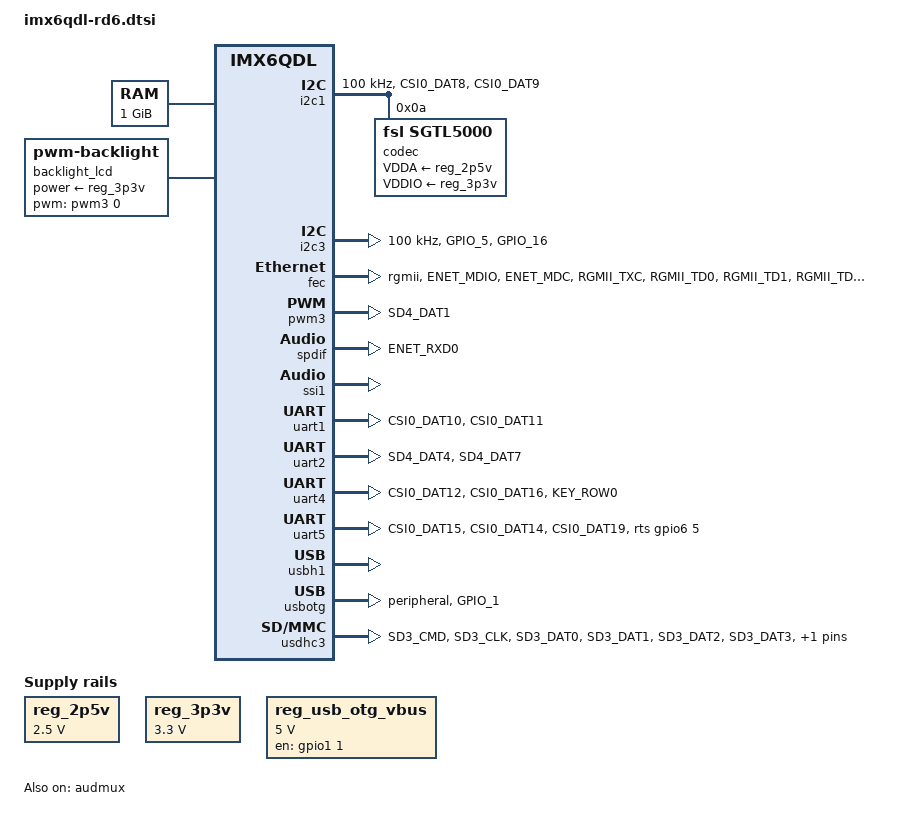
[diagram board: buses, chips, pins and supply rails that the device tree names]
/*
 * Copyright 2018 Reach Technology.
 *
 * Author: Jeff Horn <jeff.horn@reachtech.com>
 *
 * This program is free software; you can redistribute it and/or modify
 * it under the terms of the GNU General Public License version 2 as
 * published by the Free Software Foundation.
 *
 */

#include <dt-bindings/gpio/gpio.h>

/ {
    aliases {
		mxcfb0 = &mxcfb1;
	};
    memory {
		reg = <0x10000000 0x40000000>;
	};
    
	regulators {
		compatible = "simple-bus";
		#address-cells = <1>;
		#size-cells = <0>;

		reg_2p5v: regulator@0 {
			compatible = "regulator-fixed";
			reg = <0>;
			regulator-name = "2P5V";
			regulator-min-microvolt = <2500000>;
			regulator-max-microvolt = <2500000>;
			regulator-always-on;
		};

		reg_3p3v: regulator@1 {
			compatible = "regulator-fixed";
			reg = <1>;
			regulator-name = "3P3V";
			regulator-min-microvolt = <3300000>;
			regulator-max-microvolt = <3300000>;
			regulator-always-on;
		};
        
        reg_usb_otg_vbus: usb_otg_vbus {
			compatible = "regulator-fixed";
			regulator-name = "usb_otg_vbus";
			regulator-min-microvolt = <5000000>;
			regulator-max-microvolt = <5000000>;
			gpio = <&gpio1 1 GPIO_ACTIVE_LOW>;
			enable-active-high;
		};
	};

	sound {
		compatible = "fsl,imx6-rd6-sgtl5000",
			     "fsl,imx-audio-sgtl5000";
		model = "imx6-rd6-sgtl5000";
		ssi-controller = <&ssi1>;
		audio-codec = <&codec>;
		audio-routing =
			"MIC_IN", "Mic Jack",
			"Mic Jack", "Mic Bias",
			"Headphone Jack", "HP_OUT";
		mux-int-port = <1>;
		mux-ext-port = <3>;
	};

	sound-spdif {
		compatible = "fsl,imx-audio-spdif";
		model = "imx-spdif";
		spdif-controller = <&spdif>;
		spdif-out;
	};
    
    backlight_lcd: backlight_lcd {
		compatible = "pwm-backlight";
		pwms = <&pwm3 0 5000000>;
		brightness-levels = <0 4 8 16 32 64 128 255>;
		default-brightness-level = <7>;
		power-supply = <&reg_3p3v>;
		status = "okay";
	};
};

&audmux {
	pinctrl-names = "default";
	pinctrl-0 = <&pinctrl_audmux>;
	status = "okay";
};

&i2c1 {
	clock-frequency = <100000>;
	pinctrl-names = "default";
	pinctrl-0 = <&pinctrl_i2c1>;
	status = "okay";
    
    codec: sgtl5000@0a {
		compatible = "fsl,sgtl5000";
		reg = <0x0a>;
		clocks = <&clks IMX6QDL_CLK_CKO>;
		VDDA-supply = <&reg_2p5v>;
		VDDIO-supply = <&reg_3p3v>;
	};
};

&i2c3 {
	clock-frequency = <100000>;
	pinctrl-names = "default";
	pinctrl-0 = <&pinctrl_i2c3>;
	status = "okay";
};

&iomuxc {
	pinctrl-names = "default";
    pinctrl-0 = <&pinctrl_hog>;

	imx6qdl-rd6 {
        pinctrl_hog: hoggrp {
			fsl,pins = <
				/* SGTL5000 sys_mclk */
				MX6QDL_PAD_GPIO_0__CCM_CLKO1        0x030b0
                /* DISPLAY_EN */
                MX6QDL_PAD_SD4_DAT3__GPIO2_IO11     0x130B0
                /* BACKLIGHT_EN */
                MX6QDL_PAD_SD4_DAT0__GPIO2_IO08     0x130B0
			>;
		};

		pinctrl_audmux: audmuxgrp {
			fsl,pins = <
				MX6QDL_PAD_CSI0_DAT7__AUD3_RXD		0x130b0
				MX6QDL_PAD_CSI0_DAT4__AUD3_TXC		0x130b0
				MX6QDL_PAD_CSI0_DAT5__AUD3_TXD		0x110b0
				MX6QDL_PAD_CSI0_DAT6__AUD3_TXFS		0x130b0
			>;
		};

		pinctrl_enet: enetgrp {
			fsl,pins = <
                MX6QDL_PAD_ENET_MDIO__ENET_MDIO       0x1b0b0
				MX6QDL_PAD_ENET_MDC__ENET_MDC         0x1b0b0
				MX6QDL_PAD_RGMII_TXC__RGMII_TXC       0x1b0b0
				MX6QDL_PAD_RGMII_TD0__RGMII_TD0       0x1b0b0
				MX6QDL_PAD_RGMII_TD1__RGMII_TD1       0x1b0b0
				MX6QDL_PAD_RGMII_TD2__RGMII_TD2       0x1b0b0
				MX6QDL_PAD_RGMII_TD3__RGMII_TD3       0x1b0b0
				MX6QDL_PAD_RGMII_TX_CTL__RGMII_TX_CTL 0x1b0b0
				MX6QDL_PAD_ENET_REF_CLK__ENET_TX_CLK  0x1b0b0
				MX6QDL_PAD_RGMII_RXC__RGMII_RXC       0x1b0b0
				MX6QDL_PAD_RGMII_RD0__RGMII_RD0       0x1b0b0
				MX6QDL_PAD_RGMII_RD1__RGMII_RD1       0x1b0b0
				MX6QDL_PAD_RGMII_RD2__RGMII_RD2       0x1b0b0
				MX6QDL_PAD_RGMII_RD3__RGMII_RD3       0x1b0b0
				MX6QDL_PAD_RGMII_RX_CTL__RGMII_RX_CTL 0x1b0b0
				MX6QDL_PAD_ENET_TX_EN__ENET_TX_EN     0x1b0b0
			>;
		};

         pinctrl_i2c1: i2c1grp {
			fsl,pins = <
				MX6QDL_PAD_CSI0_DAT8__I2C1_SDA      0x4001b8b1
				MX6QDL_PAD_CSI0_DAT9__I2C1_SCL      0x4001b8b1
			>;
		};

		pinctrl_i2c3: i2c3grp {
			fsl,pins = <
                MX6QDL_PAD_GPIO_5__I2C3_SCL         0x4001b8b1
				MX6QDL_PAD_GPIO_16__I2C3_SDA        0x4001b8b1
			>;
		};
        
        pinctrl_ipu1: ipu1grp {
			fsl,pins = <
				MX6QDL_PAD_DI0_DISP_CLK__IPU1_DI0_DISP_CLK 0x10
				MX6QDL_PAD_DI0_PIN15__IPU1_DI0_PIN15       0x10
				MX6QDL_PAD_DI0_PIN2__IPU1_DI0_PIN02        0x10
				MX6QDL_PAD_DI0_PIN3__IPU1_DI0_PIN03        0x10
				//MX6QDL_PAD_DI0_PIN4__IPU1_DI0_PIN04        0x80000000
				MX6QDL_PAD_DISP0_DAT0__IPU1_DISP0_DATA00   0x10
				MX6QDL_PAD_DISP0_DAT1__IPU1_DISP0_DATA01   0x10
				MX6QDL_PAD_DISP0_DAT2__IPU1_DISP0_DATA02   0x10
				MX6QDL_PAD_DISP0_DAT3__IPU1_DISP0_DATA03   0x10
				MX6QDL_PAD_DISP0_DAT4__IPU1_DISP0_DATA04   0x10
				MX6QDL_PAD_DISP0_DAT5__IPU1_DISP0_DATA05   0x10
				MX6QDL_PAD_DISP0_DAT6__IPU1_DISP0_DATA06   0x10
				MX6QDL_PAD_DISP0_DAT7__IPU1_DISP0_DATA07   0x10
				MX6QDL_PAD_DISP0_DAT8__IPU1_DISP0_DATA08   0x10
				MX6QDL_PAD_DISP0_DAT9__IPU1_DISP0_DATA09   0x10
				MX6QDL_PAD_DISP0_DAT10__IPU1_DISP0_DATA10  0x10
				MX6QDL_PAD_DISP0_DAT11__IPU1_DISP0_DATA11  0x10
				MX6QDL_PAD_DISP0_DAT12__IPU1_DISP0_DATA12  0x10
				MX6QDL_PAD_DISP0_DAT13__IPU1_DISP0_DATA13  0x10
				MX6QDL_PAD_DISP0_DAT14__IPU1_DISP0_DATA14  0x10
				MX6QDL_PAD_DISP0_DAT15__IPU1_DISP0_DATA15  0x10
				MX6QDL_PAD_DISP0_DAT16__IPU1_DISP0_DATA16  0x10
				MX6QDL_PAD_DISP0_DAT17__IPU1_DISP0_DATA17  0x10
			>;
	    };
        
        pinctrl_pwm1: pwm1grp {
			fsl,pins = <
				MX6QDL_PAD_SD1_DAT3__PWM1_OUT 0x1b0b1
			>;
		};
        
        pinctrl_pwm3: pwm3grp {
			fsl,pins = <
				MX6QDL_PAD_SD4_DAT1__PWM3_OUT 0x1b0b1
			>;
		};

		pinctrl_spdif: spdifgrp {
			fsl,pins = <
				MX6QDL_PAD_ENET_RXD0__SPDIF_OUT		0x1b0b0
			>;
		};

		pinctrl_uart1: uart1grp {
			fsl,pins = <
				MX6QDL_PAD_CSI0_DAT10__UART1_TX_DATA	0x1b0b1
				MX6QDL_PAD_CSI0_DAT11__UART1_RX_DATA	0x1b0b1
			>;
		};
        
        pinctrl_uart2: uart2grp {
			fsl,pins = <
				MX6QDL_PAD_SD4_DAT4__UART2_RX_DATA   0x1b0b1
				MX6QDL_PAD_SD4_DAT7__UART2_TX_DATA   0x1b0b1
			>;
		};
        
        pinctrl_uart4: uart4grp {
			fsl,pins = <
                MX6QDL_PAD_CSI0_DAT12__UART4_TX_DATA 0x1b0b1
                MX6QDL_PAD_CSI0_DAT16__GPIO6_IO02  0x4001b0b1
                MX6QDL_PAD_KEY_ROW0__UART4_RX_DATA 0x1b0b1
			>;
		};
        
        pinctrl_uart5: uart5grp {
			fsl,pins = <
				MX6QDL_PAD_CSI0_DAT15__UART5_RX_DATA 0x1b0b1
				MX6QDL_PAD_CSI0_DAT14__UART5_TX_DATA 0x1b0b1
				MX6QDL_PAD_CSI0_DAT19__GPIO6_IO05    0x4001b0b1
			>;
		};

		pinctrl_usbotg: usbotggrp {
			fsl,pins = <
				MX6QDL_PAD_GPIO_1__USB_OTG_ID		0x17059
			>;
		};

		pinctrl_usdhc3: usdhc3grp {
			fsl,pins = <
				MX6QDL_PAD_SD3_CMD__SD3_CMD		    0x17059
				MX6QDL_PAD_SD3_CLK__SD3_CLK		    0x10059
				MX6QDL_PAD_SD3_DAT0__SD3_DATA0		0x17059
				MX6QDL_PAD_SD3_DAT1__SD3_DATA1		0x17059
				MX6QDL_PAD_SD3_DAT2__SD3_DATA2		0x17059
				MX6QDL_PAD_SD3_DAT3__SD3_DATA3		0x17059
			>;
		};
	};
};

&fec {
	pinctrl-names = "default";
	pinctrl-0 = <&pinctrl_enet>;
	phy-mode = "rgmii";
	fsl,err006687-workaround-present;
	status = "okay";
};

&pwm3 {
	pinctrl-names = "default";
	pinctrl-0 = <&pinctrl_pwm3>;
	status = "okay";
};

&spdif {
	pinctrl-names = "default";
	pinctrl-0 = <&pinctrl_spdif>;
	status = "okay";
};

&ssi1 {
	status = "okay";
};

&uart1 {
	pinctrl-names = "default";
	pinctrl-0 = <&pinctrl_uart1>;
	status = "okay";
};

&uart2 {
	pinctrl-names = "default";
	pinctrl-0 = <&pinctrl_uart2>;
	status = "okay";
};

&uart4 {
	pinctrl-names = "default";
	pinctrl-0 = <&pinctrl_uart4>;
	status = "okay";
};

&uart5 {
	pinctrl-names = "default";
	pinctrl-0 = <&pinctrl_uart5>;
    rts-gpios = <&gpio6 5 GPIO_ACTIVE_HIGH>;
	status = "okay";
};

&usbh1 {
	status = "okay";
};

&usbotg {
	pinctrl-names = "default";
	pinctrl-0 = <&pinctrl_usbotg>;
	disable-over-current;
	dr_mode = "peripheral";
	status = "okay";
};

&usdhc3 {
	pinctrl-names = "default";
	pinctrl-0 = <&pinctrl_usdhc3>;
	cd-gpios = <&gpio1 2 GPIO_ACTIVE_LOW>;
	status = "okay";
};
